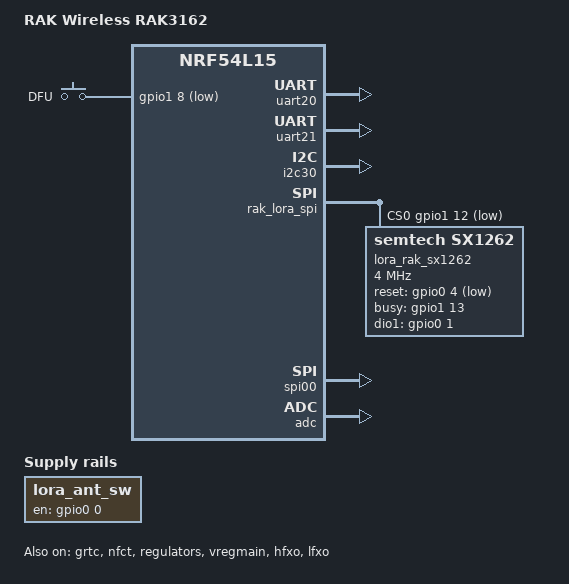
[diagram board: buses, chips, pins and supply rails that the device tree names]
/*
 * Copyright (c) 2026 RAKwireless Technology Limited
 * SPDX-License-Identifier: Apache-2.0
 *
 * RAK3162 board (nRF54L15) with onboard Semtech SX1262 LoRa radio.
 *
 * RF Switch (RTC66006, U3):
 *   Power: P0.00 (ANT_SW) --R5(100Ω)--> RTC66006 VDD (regulator-boot-on)
 *   Direction: SX1262 DIO2 --> RTC66006 CTRL (dio2-tx-enable)
 *
 * TCXO: SX1262 DIO3 powers X3 (32 MHz); dio3-tcxo-voltage.
 *
 * LoRa SPI: spi22 (SCK=P1.11, MOSI=P1.10, MISO=P1.09), CS=P1.12
 *   RESET=P0.04, BUSY=P1.13, DIO1=P0.01
 */

/dts-v1/;
#include <nordic/nrf54l15_cpuapp.dtsi>
#include <zephyr/dt-bindings/lora/sx126x.h>
#include "rak3162_common.dtsi"
#include "rak3162_connector.dtsi"

/ {
	model = "RAK Wireless RAK3162";
	compatible = "rak,rak3162-cpuapp";

	chosen {
		zephyr,code-partition = &slot0_partition;
		zephyr,sram         = &cpuapp_sram;
		zephyr,flash        = &cpuapp_rram;
		zephyr,console      = &uart20;
		zephyr,shell-uart   = &uart20;
		/* MCUboot serial recovery / mcumgr SMP on the AT UART */
		zephyr,uart-mcumgr = &uart20;
		zephyr,lorawan-transceiver = &lora_rak_sx1262;
	};

	/*
	 * DFU enter: hold GPIO1 (P1.08) low through reset to enter MCUboot
	 * serial recovery (see samples/at_firmware serial DFU notes).
	 */
	buttons {
		compatible = "gpio-keys";

		dfu_btn: dfu_btn {
			gpios = <&gpio1 8 (GPIO_PULL_UP | GPIO_ACTIVE_LOW)>;
			label = "DFU";
		};
	};

	/* ANT_SW: P0.00 → R5 (100Ω) → RTC66006 VDD
	 * Defaults to HIGH upon power-up, supplying power to the RF switch IC.
	 * During low-power operation, call regulator_disable() to cut RF section power.
	 */
	lora_ant_sw: lora-ant-sw {
		compatible = "regulator-fixed";
		regulator-name = "lora-ant-sw";
		enable-gpios = <&gpio0 0 GPIO_ACTIVE_HIGH>;
		regulator-boot-on;
		startup-delay-us = <1000>;
	};

	aliases {
		watchdog0 = &wdt31;
		lora0 = &lora_rak_sx1262;
		lora-ant-sw = &lora_ant_sw;
		lora-transceiver = &lora_rak_sx1262;
		mcuboot-button0 = &dfu_btn;
		mcuboot-led0 = &led0;
	};
};

&cpuapp_sram {
	status = "okay";
};

&grtc {
	owned-channels = <0 1 2 3 4 5 6 7 8 9 10 11>;
	/* Channels 7-11 reserved for Zero Latency IRQs, 3-4 for FLPR */
	child-owned-channels = <3 4 7 8 9 10 11>;
	status = "okay";
};

&clock {
	status = "okay";
};

/* UART0 / uart20 - console (zephyr,console / AT) */
&uart20 {
	status = "okay";
};

/* UART1 / uart21 - secondary */
&uart21 {
	status = "okay";
};

/* I2C */
&i2c30 {
	status = "okay";
};

/* LoRa SPI + onboard SX1262 (Zephyr loramac-node / CONFIG_LORA) */
&rak_lora_spi {
	status = "okay";
	overrun-character = <0>;
	cs-gpios = <&gpio1 12 GPIO_ACTIVE_LOW>; /* CS = P1.12 */

	lora_rak_sx1262: lora@0 {
		compatible = "semtech,sx1262";
		reg = <0>;
		spi-max-frequency = <DT_FREQ_M(4)>;

		reset-gpios = <&gpio0 4 GPIO_ACTIVE_LOW>; /* RESET = P0.04 */
		busy-gpios = <&gpio1 13 GPIO_ACTIVE_HIGH>; /* BUSY = P1.13 */
		dio1-gpios = <&gpio0 1 (GPIO_ACTIVE_HIGH | GPIO_PULL_DOWN)>; /* DIO1 = P0.01 */

		dio2-tx-enable;
		dio3-tcxo-voltage = <SX126X_DIO3_TCXO_1V8>;
		tcxo-power-startup-delay-ms = <30>;
		rx-boosted;
	};
};

/* External/reserved SPI - CS P2.05 controlled by application */
&spi00 {
	status = "okay";
};

&gpio0 {
	status = "okay";
};

&gpio1 {
	status = "okay";
};

&gpio2 {
	status = "okay";
};

&gpiote20 {
	status = "okay";
};

&gpiote30 {
	status = "okay";
};

&nfct {
	status = "okay";
};

&adc {
	status = "okay";
};

&regulators {
	status = "okay";
};

&vregmain {
	status = "okay";
	regulator-initial-mode = <NRF5X_REG_MODE_DCDC>;
};

/* HFXO - 32 MHz crystal; load-capacitance-femtofarad: 4000–17000, step 250 */
&hfxo {
	status = "okay";
	load-capacitors = "internal";
	load-capacitance-femtofarad = <5000>;
};

&lfxo {
	load-capacitors = "internal";
	load-capacitance-femtofarad = <8000>;
	status = "okay";
};

&cpuapp_rram {
	partitions {
		compatible = "fixed-partitions";
		#address-cells = <1>;
		#size-cells = <1>;

		boot_partition: partition@0 {
			label = "mcuboot";
			reg = <0x0 DT_SIZE_K(64)>;
		};

		slot0_partition: partition@10000 {
			label = "image-0";
			reg = <0x10000 DT_SIZE_K(664)>;
		};

		slot1_partition: partition@b6000 {
			label = "image-1";
			reg = <0xb6000 DT_SIZE_K(664)>;
		};

		storage_partition: partition@15c000 {
			label = "storage";
			reg = <0x15c000 DT_SIZE_K(36)>;
		};
	};
};
